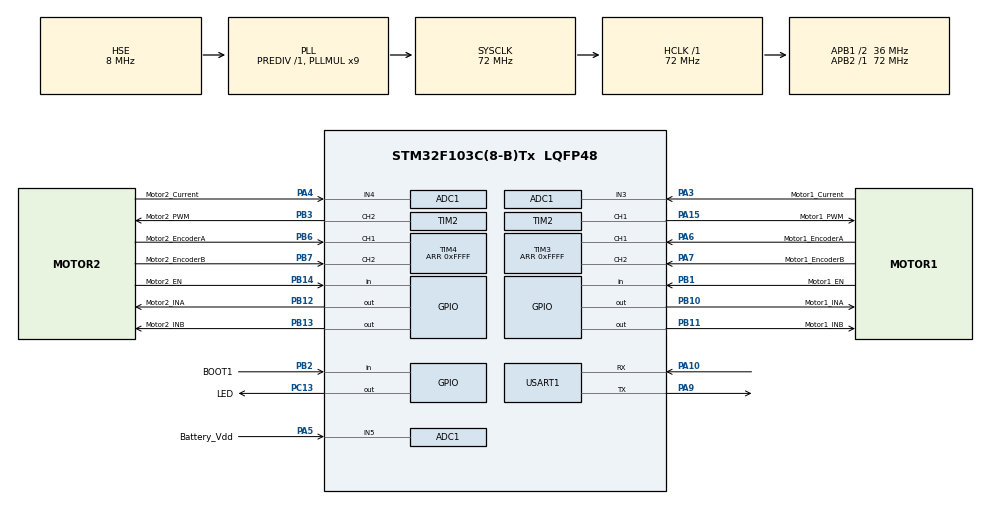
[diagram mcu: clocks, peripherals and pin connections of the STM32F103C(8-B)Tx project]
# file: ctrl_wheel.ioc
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Mcu.Family=STM32F1
TIM2.OCFastMode_PWM-PWM\ Generation1\ CH1=TIM_OCFAST_ENABLE
VP_ADC1_TempSens_Input.Mode=IN-TempSens
ADC1.ContinuousConvMode=ENABLE
PB14.GPIO_Label=Motor2_EN
ADC1.InjectedOffset-15\#ChannelInjectedConversion=0
PA6.GPIO_Label=Motor1_EncoderA
PB6.GPIO_Label=Motor2_EncoderA
NVIC.TIM1_UP_IRQn=true\:0\:0\:false\:false\:true\:true\:true
TIM2.Channel-PWM\ Generation2\ CH2=TIM_CHANNEL_2
PB13.GPIO_Label=Motor2_INB
PB11.Signal=GPIO_Output
PB13.Signal=GPIO_Output
PB3.GPIO_Speed=GPIO_SPEED_FREQ_HIGH
RCC.SYSCLKSource=RCC_SYSCLKSOURCE_PLLCLK
ProjectManager.StackSize=0x400
PD1-OSC_OUT.Signal=RCC_OSC_OUT
PA15.GPIO_Label=Motor1_PWM
TIM1.Prescaler=72
RCC.HCLKFreq_Value=72000000
SH.ADCx_IN3.0=ADC1_IN3,IN3
RCC.APB2TimFreq_Value=72000000
TIM3.Period=0xFFFF
PB6.Signal=S_TIM4_CH1
ADC1.InjNumberOfConversion=4
ADC1.Channel-17\#ChannelInjectedConversion=ADC_CHANNEL_5
RCC.AHBFreq_Value=72000000
ADC1.Channel-16\#ChannelInjectedConversion=ADC_CHANNEL_4
PB2.Signal=GPIO_Input
RCC.RTCClockSelection=RCC_RTCCLKSOURCE_LSE
RCC.PLLMUL=RCC_PLL_MUL9
PB12.GPIO_Label=Motor2_INA
PC14-OSC32_IN.Mode=LSE-External-Oscillator
PC13-TAMPER-RTC.PinState=GPIO_PIN_SET
PB1.GPIO_Label=Motor1_EN
SH.S_TIM4_CH2.0=TIM4_CH2,Encoder_Interface
PB7.Signal=S_TIM4_CH2
ADC1.InjectedConvMode=AutoInjected
TIM2.Channel-PWM\ Generation1\ CH1=TIM_CHANNEL_1
SH.S_TIM3_CH1.0=TIM3_CH1,Encoder_Interface
TIM4.Period=0xFFFF
VP_TIM1_VS_ClockSourceINT.Mode=Internal
PB7.GPIO_Label=Motor2_EncoderB
Mcu.Package=LQFP48
PB1.Signal=GPIO_Input
PA6.Signal=S_TIM3_CH1
ADC1.EnableInjectedConversion=ENABLE
TIM4.IC1Polarity=TIM_ICPOLARITY_FALLING
PA10.Signal=USART1_RX
PA15.Signal=S_TIM2_CH1_ETR
SH.S_TIM4_CH1.0=TIM4_CH1,Encoder_Interface
RCC.APB1TimFreq_Value=72000000
TIM1.Period=1000
PA4.GPIO_Label=Motor2_Current
PA3.Signal=ADCx_IN3
PB3.GPIO_Label=Motor2_PWM
RCC.PLLSourceVirtual=RCC_PLLSOURCE_HSE
PC15-OSC32_OUT.Mode=LSE-External-Oscillator
TIM4.AutoReloadPreload=TIM_AUTORELOAD_PRELOAD_ENABLE
PD1-OSC_OUT.Mode=HSE-External-Oscillator
PA10.Mode=Asynchronous
TIM3.AutoReloadPreload=TIM_AUTORELOAD_PRELOAD_ENABLE
ADC1.Channel-18\#ChannelInjectedConversion=ADC_CHANNEL_TEMPSENSOR
ADC1.Rank-16\#ChannelInjectedConversion=2
ADC1.DiscontinuousConvMode=DISABLE
PB11.GPIO_Label=Motor1_INB
PC13-TAMPER-RTC.Signal=GPIO_Output
RCC.USBPrescaler=RCC_USBCLKSOURCE_PLL_DIV1_5
PD0-OSC_IN.Signal=RCC_OSC_IN
RCC.APB1CLKDivider=RCC_HCLK_DIV2
PC14-OSC32_IN.Signal=RCC_OSC32_IN
VP_SYS_VS_ND.Mode=No_Debug
RCC.ADCPresc=RCC_ADCPCLK2_DIV6
ADC1.Channel-15\#ChannelInjectedConversion=ADC_CHANNEL_3
TIM1.AutoReloadPreload=TIM_AUTORELOAD_PRELOAD_ENABLE
SH.S_TIM2_CH2.0=TIM2_CH2,PWM Generation2 CH2
PA9.Mode=Asynchronous
ProjectManager.TargetToolchain=STM32CubeIDE
PB10.GPIO_Label=Motor1_INA
PA9.Signal=USART1_TX
RCC.USBFreq_Value=48000000
PC15-OSC32_OUT.Signal=RCC_OSC32_OUT
PD0-OSC_IN.Mode=HSE-External-Oscillator
PB10.Signal=GPIO_Output
TIM3.IC2Polarity=TIM_ICPOLARITY_FALLING
TIM4.IC2Polarity=TIM_ICPOLARITY_RISING
PB14.Signal=GPIO_Input
PA5.Signal=ADCx_IN5
SH.S_TIM3_CH2.0=TIM3_CH2,Encoder_Interface
board=custom
PC13-TAMPER-RTC.GPIO_Label=LED
RCC.APB2Freq_Value=72000000
ADC1.Rank-15\#ChannelInjectedConversion=1
VP_TIM2_VS_ClockSourceINT.Mode=Internal
SH.ADCx_IN4.0=ADC1_IN4,IN4
TIM2.Period=0xFFFF
ADC1.SamplingTime-15\#ChannelInjectedConversion=ADC_SAMPLETIME_239CYCLES_5
Mcu.Name=STM32F103C(8-B)Tx
PB3.Signal=S_TIM2_CH2
PA4.Signal=ADCx_IN4
RCC.SYSCLKFreq_VALUE=72000000
PA7.GPIO_Label=Motor1_EncoderB
ADC1.master=1
PA5.GPIO_Label=Battery_Vdd
ADC1.SamplingTime-16\#ChannelInjectedConversion=ADC_SAMPLETIME_239CYCLES_5
TIM3.IC1Polarity=TIM_ICPOLARITY_FALLING
USART1.VirtualMode=VM_ASYNC
PA15.GPIO_Speed=GPIO_SPEED_FREQ_HIGH
ADC1.InjectedOffset-17\#ChannelInjectedConversion=0
SH.S_TIM2_CH1_ETR.0=TIM2_CH1,PWM Generation1 CH1
PB2.GPIO_Label=BOOT1
ProjectManager.HeapSize=0x200
SH.ADCx_IN5.0=ADC1_IN5,IN5
ADC1.InjectedOffset-16\#ChannelInjectedConversion=0
ADC1.SamplingTime-17\#ChannelInjectedConversion=ADC_SAMPLETIME_239CYCLES_5
NVIC.PriorityGroup=NVIC_PRIORITYGROUP_4
ADC1.EnableRegularConversion=DISABLE
ADC1.Rank-18\#ChannelInjectedConversion=4
TIM2.AutoReloadPreload=TIM_AUTORELOAD_PRELOAD_ENABLE
TIM2.OCFastMode_PWM-PWM\ Generation2\ CH2=TIM_OCFAST_ENABLE
ADC1.SamplingTime-18\#ChannelInjectedConversion=ADC_SAMPLETIME_239CYCLES_5
RCC.APB1Freq_Value=36000000
VP_CRC_VS_CRC.Mode=CRC_Activate
ADC1.Rank-17\#ChannelInjectedConversion=3
PB12.Signal=GPIO_Output
ADC1.InjectedOffset-18\#ChannelInjectedConversion=0
PA3.GPIO_Label=Motor1_Current
PA7.Signal=S_TIM3_CH2

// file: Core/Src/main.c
/* USER CODE BEGIN Header */
/**
 ******************************************************************************
 * @file           : main.c
 * @brief          : Main program body
 ******************************************************************************
 * @attention
 *
 * <h2><center>&copy; Copyright (c) 2020 STMicroelectronics.
 * All rights reserved.</center></h2>
 *
 * This software component is licensed by ST under BSD 3-Clause license,
 * the "License"; You may not use this file except in compliance with the
 * License. You may obtain a copy of the License at:
 *                        opensource.org/licenses/BSD-3-Clause
 *
 ******************************************************************************
 */
/* USER CODE END Header */
#include "main.h"
#include "adc.h"
#include "crc.h"
#include "tim.h"
#include "usart.h"
#include "gpio.h"

/* USER CODE BEGIN Includes */
#include "motor.h"
#include "flash.h"
#include "cmd.h"

/* USER CODE END Includes */

void SystemClock_Config(void);

int main(void)
{
  /* USER CODE BEGIN 1 */
  uint32_t i;

  /* USER CODE END 1 */

  /* MCU Configuration--------------------------------------------------------*/

  /* Reset of all peripherals, Initializes the Flash interface and the Systick. */
  HAL_Init();

  /* Configure the system clock */
  SystemClock_Config();

  /* Initialize all configured peripherals */
  MX_GPIO_Init();
  MX_TIM2_Init();
  MX_ADC1_Init();
  MX_USART1_UART_Init();
  MX_CRC_Init();
  MX_TIM1_Init();
  MX_TIM3_Init();
  MX_TIM4_Init();
  /* USER CODE BEGIN 2 */
  HAL_TIM_Base_Start_IT(&htim1);
  HAL_TIM_PWM_Start(&htim2, TIM_CHANNEL_1);
  HAL_TIM_PWM_Start(&htim2, TIM_CHANNEL_2);
  HAL_TIM_Encoder_Start(&htim3, TIM_CHANNEL_1);
  HAL_TIM_Encoder_Start(&htim3, TIM_CHANNEL_2);
  HAL_TIM_Encoder_Start(&htim4, TIM_CHANNEL_1);
  HAL_TIM_Encoder_Start(&htim4, TIM_CHANNEL_2);
  HAL_ADC_Start(&hadc1);

  /* USER CODE END 2 */

  /* Infinite loop */
  while (1) {

    /* USER CODE BEGIN 3 */
    i = HAL_GetTick();
    if ((i / 200) & 1) {
      HAL_GPIO_WritePin(LED_GPIO_Port, LED_Pin, GPIO_PIN_RESET);
    } else {
      HAL_GPIO_WritePin(LED_GPIO_Port, LED_Pin, GPIO_PIN_SET);
    }

    CommandControl();
  }
  /* USER CODE END 3 */
}

void SystemClock_Config(void)
{
  RCC_OscInitTypeDef RCC_OscInitStruct = {0};
  RCC_ClkInitTypeDef RCC_ClkInitStruct = {0};
  RCC_PeriphCLKInitTypeDef PeriphClkInit = {0};

  /** Initializes the RCC Oscillators according to the specified parameters
  * in the RCC_OscInitTypeDef structure.
  */
  RCC_OscInitStruct.OscillatorType = RCC_OSCILLATORTYPE_HSE;
  RCC_OscInitStruct.HSEState = RCC_HSE_ON;
  RCC_OscInitStruct.HSEPredivValue = RCC_HSE_PREDIV_DIV1;
  RCC_OscInitStruct.HSIState = RCC_HSI_ON;
  RCC_OscInitStruct.PLL.PLLState = RCC_PLL_ON;
  RCC_OscInitStruct.PLL.PLLSource = RCC_PLLSOURCE_HSE;
  RCC_OscInitStruct.PLL.PLLMUL = RCC_PLL_MUL9;
  if (HAL_RCC_OscConfig(&RCC_OscInitStruct) != HAL_OK)
  {
    Error_Handler();
  }
  /** Initializes the CPU, AHB and APB buses clocks
  */
  RCC_ClkInitStruct.ClockType = RCC_CLOCKTYPE_HCLK|RCC_CLOCKTYPE_SYSCLK
                              |RCC_CLOCKTYPE_PCLK1|RCC_CLOCKTYPE_PCLK2;
  RCC_ClkInitStruct.SYSCLKSource = RCC_SYSCLKSOURCE_PLLCLK;
  RCC_ClkInitStruct.AHBCLKDivider = RCC_SYSCLK_DIV1;
  RCC_ClkInitStruct.APB1CLKDivider = RCC_HCLK_DIV2;
  RCC_ClkInitStruct.APB2CLKDivider = RCC_HCLK_DIV1;

  if (HAL_RCC_ClockConfig(&RCC_ClkInitStruct, FLASH_LATENCY_2) != HAL_OK)
  {
    Error_Handler();
  }
  PeriphClkInit.PeriphClockSelection = RCC_PERIPHCLK_ADC;
  PeriphClkInit.AdcClockSelection = RCC_ADCPCLK2_DIV6;
  if (HAL_RCCEx_PeriphCLKConfig(&PeriphClkInit) != HAL_OK)
  {
    Error_Handler();
  }
}

void Error_Handler(void)
{
  /* USER CODE BEGIN Error_Handler_Debug */
  /* User can add his own implementation to report the HAL error return state */
  HAL_GPIO_WritePin(LED_GPIO_Port, LED_Pin, GPIO_PIN_RESET);
  while (1)
    ;

  /* USER CODE END Error_Handler_Debug */
}

/************************ (C) COPYRIGHT STMicroelectronics *****END OF FILE****/
